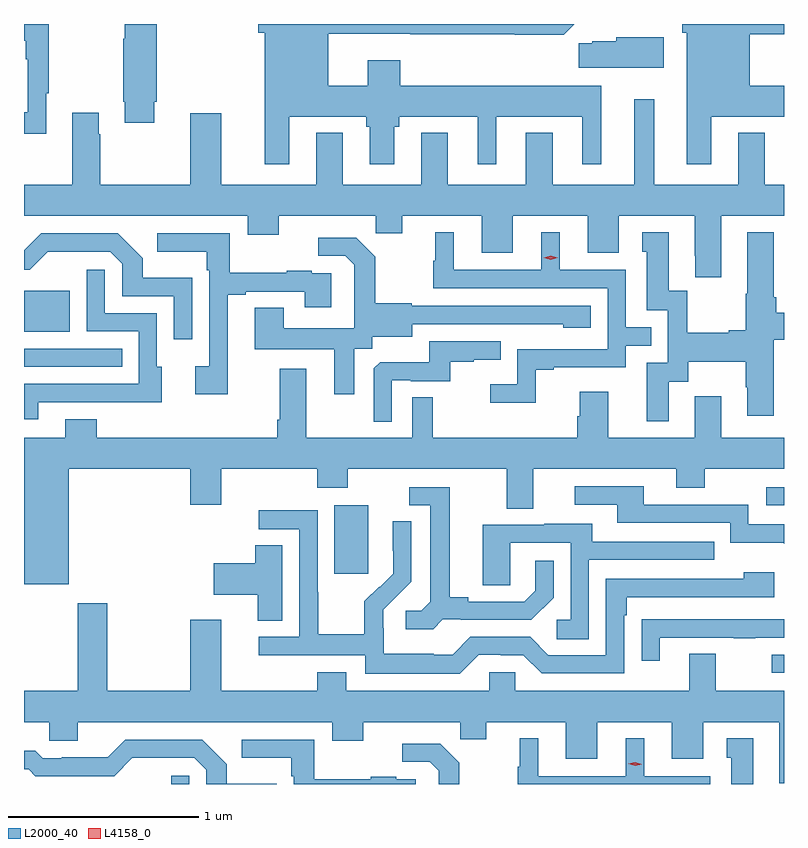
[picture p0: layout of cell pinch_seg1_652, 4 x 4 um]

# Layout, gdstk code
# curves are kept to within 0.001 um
import gdstk
lib = gdstk.Library(unit=1e-6, precision=1e-09)
def R(c, l, rs):  # rectangles x0, y0, x1, y1
    for r in rs: c.add(gdstk.rectangle(r[:2], r[2:], *l))
def P(c, l, *ps):  # polygons
    for p in ps: c.add(gdstk.Polygon(p, *l))
L2000_40 = (2000, 40)
L4158_0 = (4158, 0)

pinch_seg1_652 = lib.new_cell('pinch_seg1_652')
R(pinch_seg1_652, L2000_40, [(812.259,575.382,812.355,575.425), (815.421,575.967,815.485,576.063), (813.119,576.489,813.298,576.85), (815.391,576.849,815.485,576.945), (811.485,577.578,812.003,577.674), (811.485,577.763,811.726,577.978)])
P(pinch_seg1_652, L2000_40, [(812.881,578.894),(813.286,578.894),(813.286,578.841),(813.305,578.841),(813.305,578.643),(813.433,578.643),(813.433,578.841),(813.459,578.841),(813.459,578.894),(813.872,578.894),(813.872,578.643),(813.97,578.643),(813.97,578.894),(814.424,578.894),(814.424,578.643),(814.522,578.643),(814.522,579.058),(813.464,579.058),(813.464,579.19),(813.293,579.19),(813.293,579.058),(813.085,579.058),(813.085,579.332),(813.517,579.332),(813.517,579.328),(814.069,579.328),(814.069,579.326),(814.325,579.326),(814.381,579.382),(812.717,579.382),(812.717,579.336),(812.753,579.336),(812.753,578.643),(812.881,578.643)],
  [(812.17,578.974),(812.183,578.974),(812.183,579.382),(812.015,579.382),(812.015,579.305),(812.008,579.305),(812.008,578.974),(812.015,578.974),(812.015,578.862),(812.17,578.862)],
  [(811.603,579.017),(811.615,579.017),(811.615,579.382),(811.485,579.382),(811.485,579.293),(811.494,579.293),(811.494,579.197),(811.506,579.197),(811.506,578.918),(811.485,578.918),(811.485,578.805),(811.603,578.805)],
  [(815.101,578.894),(815.485,578.894),(815.485,579.058),(815.305,579.058),(815.305,579.328),(815.485,579.328),(815.485,579.382),(814.949,579.382),(814.949,579.336),(814.973,579.336),(814.973,578.643),(815.101,578.643)],
  [(814.852,579.313),(814.602,579.313),(814.602,579.292),(814.476,579.292),(814.476,579.281),(814.404,579.281),(814.404,579.152),(814.852,579.152)],
  [(815.155,578.372),(815.485,578.372),(815.485,578.536),(815.383,578.536),(815.383,578.809),(815.243,578.809),(815.243,578.536),(814.801,578.536),(814.801,578.986),(814.697,578.986),(814.697,578.536),(814.267,578.536),(814.267,578.809),(814.127,578.809),(814.127,578.536),(813.715,578.536),(813.715,578.809),(813.575,578.809),(813.575,578.536),(813.163,578.536),(813.163,578.809),(813.023,578.809),(813.023,578.536),(812.524,578.536),(812.524,578.911),(812.36,578.911),(812.36,578.536),(811.887,578.536),(811.887,578.801),(811.879,578.801),(811.879,578.914),(811.739,578.914),(811.739,578.536),(811.485,578.536),(811.485,578.372),(812.663,578.372),(812.663,578.273),(812.827,578.273),(812.827,578.372),(813.337,578.372),(813.337,578.282),(813.475,578.282),(813.475,578.372),(813.893,578.372),(813.893,578.178),(814.057,578.178),(814.057,578.372),(814.451,578.372),(814.451,578.178),(814.615,578.178),(814.615,578.372),(815.015,578.372),(815.015,578.161),(815.018,578.161),(815.018,578.049),(815.155,578.049)],
  [(814.179,577.563),(814.273,577.563),(814.273,577.575),(814.653,577.575),(814.653,577.689),(814.787,577.689),(814.787,577.785),(814.653,577.785),(814.653,578.088),(814.306,578.088),(814.306,578.287),(814.208,578.287),(814.208,578.088),(813.748,578.088),(813.748,578.287),(813.65,578.287),(813.65,578.136),(813.639,578.136),(813.639,577.992),(814.557,577.992),(814.557,577.671),(814.08,577.671),(814.08,577.486),(813.939,577.486),(813.939,577.388),(814.179,577.388)],
  [(814.879,577.498),(814.981,577.498),(814.981,577.604),(815.284,577.604),(815.284,577.47),(815.291,577.47),(815.291,577.32),(815.431,577.32),(815.431,577.72),(815.485,577.72),(815.485,577.862),(815.444,577.862),(815.444,577.945),(815.431,577.945),(815.431,578.287),(815.291,578.287),(815.291,577.961),(815.284,577.961),(815.284,577.769),(815.195,577.769),(815.195,577.756),(814.977,577.756),(814.977,577.979),(814.879,577.979),(814.879,578.287),(814.739,578.287),(814.739,578.184),(814.763,578.184),(814.763,577.875),(814.872,577.875),(814.872,577.599),(814.763,577.599),(814.763,577.29),(814.879,577.29)],
  [(812.557,577.956),(812.653,577.956),(812.653,577.974),(812.963,577.974),(812.963,577.89),(813.103,577.89),(813.103,578.07),(812.999,578.07),(812.999,578.083),(812.867,578.083),(812.867,578.072),(812.569,578.072),(812.569,578.28),(812.187,578.28),(812.187,578.183),(812.448,578.183),(812.448,578.087),(812.46,578.087),(812.46,577.582),(812.385,577.582),(812.385,577.434),(812.557,577.434)],
  [(812.37,578.047),(812.109,578.047),(812.109,578.15),(811.978,578.28),(811.575,578.28),(811.485,578.19),(811.485,578.088),(811.515,578.088),(811.61,578.183),(811.938,578.184),(812.001,578.121),(812.001,577.95),(812.274,577.95),(812.274,577.722),(812.37,577.722)],
  [(813.223,577.672),(813.318,577.672),(813.318,577.736),(813.529,577.736),(813.529,577.803),(814.323,577.802),(814.323,577.784),(814.468,577.784),(814.468,577.899),(813.525,577.899),(813.525,577.912),(813.333,577.912),(813.333,578.157),(813.233,578.257),(813.033,578.257),(813.033,578.163),(813.177,578.163),(813.224,578.116),(813.224,578.021),(813.222,578.021),(813.222,577.78),(812.851,577.78),(812.851,577.889),(812.699,577.889),(812.699,577.67),(813.119,577.67),(813.119,577.434),(813.223,577.434)],
  [(811.561,577.392),(811.991,577.392),(811.991,577.391),(812.209,577.391),(812.209,577.578),(812.184,577.578),(812.184,577.86),(811.911,577.86),(811.911,578.089),(811.815,578.089),(811.815,577.764),(812.088,577.764),(812.088,577.488),(811.485,577.488),(811.485,577.302),(811.561,577.302)],
  [(813.42,577.506),(813.52,577.506),(813.52,577.503),(813.728,577.503),(813.728,577.605),(813.851,577.605),(813.851,577.616),(813.995,577.616),(813.995,577.713),(813.618,577.713),(813.618,577.601),(813.359,577.601),(813.327,577.569),(813.327,577.289),(813.42,577.289)],
  [(811.72,577.04),(812.36,577.04),(812.36,576.852),(812.524,576.852),(812.524,577.04),(813.029,577.04),(813.029,576.941),(813.189,576.941),(813.189,577.04),(814.025,577.04),(814.025,576.832),(814.165,576.832),(814.165,577.04),(814.919,577.04),(814.919,576.941),(815.067,576.941),(815.067,577.04),(815.485,577.04),(815.485,577.204),(815.155,577.204),(815.155,577.423),(815.015,577.423),(815.015,577.204),(814.561,577.204),(814.561,577.447),(814.409,577.447),(814.409,577.317),(814.397,577.317),(814.397,577.204),(813.637,577.204),(813.637,577.418),(813.528,577.418),(813.528,577.204),(812.971,577.204),(812.971,577.567),(812.831,577.567),(812.831,577.3),(812.819,577.3),(812.819,577.204),(811.867,577.204),(811.867,577.303),(811.703,577.303),(811.703,577.204),(811.485,577.204),(811.485,576.434),(811.72,576.434)],
  [(815.485,576.75),(815.298,576.75),(815.298,576.852),(814.747,576.852),(814.747,576.948),(814.383,576.948),(814.383,576.852),(814.607,576.852),(814.607,576.756),(815.202,576.756),(815.202,576.653),(815.479,576.653),(815.485,576.647)],
  [(813.69,576.249),(813.784,576.249),(813.784,576.246),(814.156,576.246),(814.272,576.362),(814.272,576.556),(814.175,576.556),(814.175,576.399),(814.118,576.342),(813.823,576.342),(813.823,576.365),(813.727,576.365),(813.727,576.945),(813.513,576.945),(813.513,576.849),(813.623,576.849),(813.623,576.341),(813.576,576.294),(813.495,576.294),(813.495,576.197),(813.638,576.197)],
  [(813.879,576.063),(813.995,576.063),(813.995,576.06),(814.113,576.06),(814.209,575.964),(814.644,575.964),(814.644,576.269),(814.657,576.269),(814.657,576.366),(815.434,576.366),(815.434,576.496),(815.273,576.496),(815.273,576.462),(814.548,576.462),(814.548,576.06),(814.245,576.06),(814.149,576.156),(813.834,576.156),(813.741,576.063),(813.641,576.063),(813.641,576.067),(813.378,576.067),(813.378,576.201),(813.376,576.201),(813.376,576.298),(813.522,576.446),(813.522,576.764),(813.426,576.764),(813.426,576.61),(813.428,576.61),(813.428,576.488),(813.357,576.417),(813.354,576.42),(813.277,576.343),(813.277,576.169),(813.033,576.169),(813.033,576.392),(813.03,576.392),(813.03,576.822),(812.721,576.822),(812.721,576.723),(812.934,576.723),(812.934,576.156),(812.721,576.156),(812.721,576.06),(813.282,576.06),(813.282,575.963),(813.779,575.963)],
  [(814.458,576.561),(815.117,576.561),(815.117,576.657),(814.477,576.657),(814.477,576.751),(814.223,576.751),(814.223,576.747),(813.899,576.747),(813.899,576.427),(814.044,576.427),(814.044,576.651),(814.362,576.651),(814.362,576.246),(814.29,576.246),(814.29,576.145),(814.458,576.145)],
  [(812.845,576.638),(812.702,576.638),(812.702,576.543),(812.484,576.543),(812.484,576.377),(812.714,576.377),(812.714,576.241),(812.845,576.241)],
  [(815.485,575.872),(815.125,575.872),(815.125,576.067),(814.985,576.067),(814.985,575.872),(814.071,575.872),(814.071,575.97),(813.933,575.97),(813.933,575.872),(813.181,575.872),(813.181,575.971),(813.029,575.971),(813.029,575.872),(812.524,575.872),(812.524,576.247),(812.36,576.247),(812.36,575.872),(811.923,575.872),(811.923,576.334),(811.768,576.334),(811.768,575.872),(811.485,575.872),(811.485,575.708),(811.618,575.708),(811.618,575.61),(811.768,575.61),(811.768,575.708),(813.107,575.708),(813.107,575.609),(813.271,575.609),(813.271,575.708),(813.781,575.708),(813.781,575.618),(813.919,575.618),(813.919,575.708),(814.337,575.708),(814.337,575.514),(814.501,575.514),(814.501,575.708),(814.895,575.708),(814.895,575.514),(815.059,575.514),(815.059,575.708),(815.459,575.708),(815.459,575.497),(815.46,575.497),(815.46,575.385),(815.485,575.385)],
  [(814.831,576.153),(815.221,576.153),(815.221,576.148),(815.333,576.148),(815.333,576.153),(815.485,576.153),(815.485,576.249),(814.837,576.249),(814.837,576.248),(814.735,576.248),(814.735,576.03),(814.831,576.03)],
  [(815.323,575.623),(815.183,575.623),(815.183,575.52),(815.207,575.52),(815.207,575.382),(815.323,575.382)],
  [(815.097,575.424),(814.75,575.424),(814.75,575.623),(814.652,575.623),(814.652,575.424),(814.192,575.424),(814.192,575.623),(814.094,575.623),(814.094,575.472),(814.083,575.472),(814.083,575.382),(815.097,575.382)],
  [(813.547,575.406),(813.443,575.406),(813.443,575.419),(813.311,575.419),(813.311,575.408),(813.013,575.408),(813.013,575.616),(812.631,575.616),(812.631,575.519),(812.892,575.519),(812.892,575.423),(812.904,575.423),(812.904,575.382),(813.547,575.382)],
  [(812.814,575.383),(812.553,575.383),(812.553,575.486),(812.422,575.616),(812.019,575.616),(811.925,575.522),(811.684,575.522),(811.684,575.517),(811.584,575.517),(811.545,575.557),(811.485,575.557),(811.485,575.46),(811.509,575.46),(811.545,575.424),(811.959,575.424),(812.054,575.519),(812.382,575.52),(812.445,575.457),(812.445,575.382)],
  [(813.777,575.493),(813.677,575.593),(813.477,575.593),(813.477,575.499),(813.621,575.499),(813.668,575.452),(813.668,575.382),(813.777,575.382)])
P(pinch_seg1_652, L4158_0, [(814.701,575.477),(814.665,575.488),(814.665,575.488),(814.665,575.488),(814.701,575.497),(814.737,575.486),(814.737,575.486),(814.737,575.486)],
  [(814.257,578.142),(814.221,578.151),(814.221,578.152),(814.221,578.152),(814.257,578.162),(814.293,578.152),(814.293,578.152),(814.293,578.151)])

lib.write_gds('pinch_seg1_652.gds')
